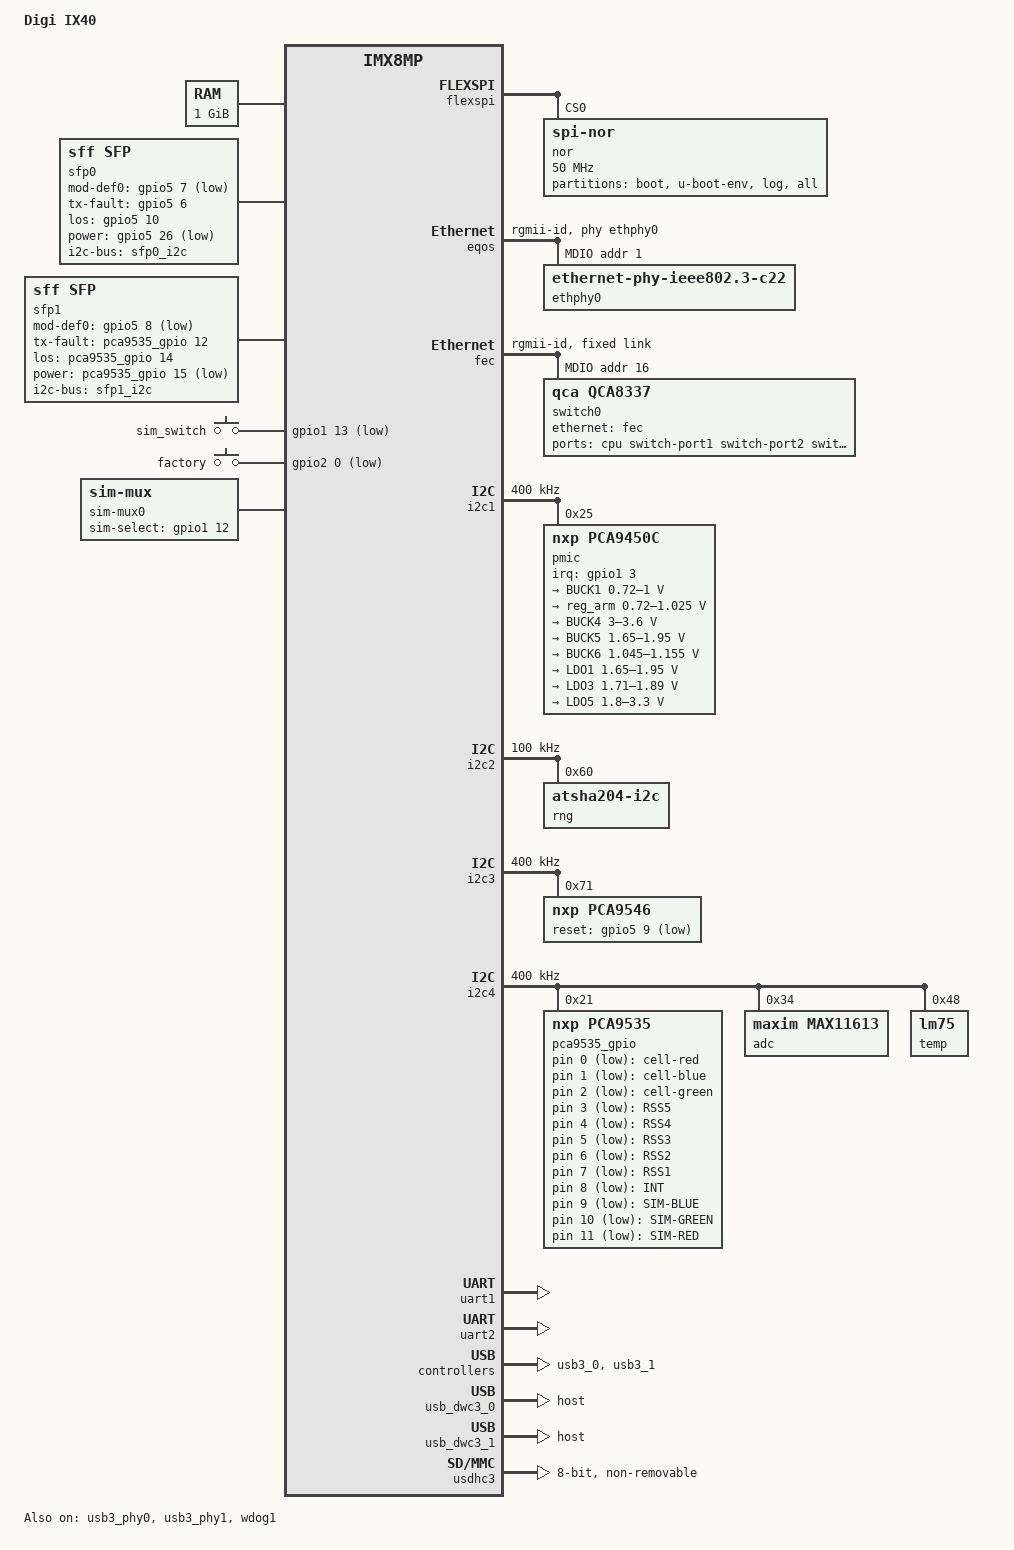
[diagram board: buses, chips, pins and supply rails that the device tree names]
// SPDX-License-Identifier: (GPL-2.0+ OR MIT)
/*
 * Copyright 2019 NXP
 */

/dts-v1/;

#include "imx8mp.dtsi"
#include <dt-bindings/input/input.h>

/ {
	model = "Digi IX40";
	compatible = "digi,ix40", "fsl,imx8mp";

	chosen {
		bootargs = "console=ttymxc0,115200n8 root=/dev/ram0 initrd=0x60000000,64M";
		stdout-path = &uart1;
	};

	thermal-zones {
		cpu-thermal {
			polling-delay-passive = <250>;
			polling-delay = <2000>;
			thermal-sensors = <&tmu 0>;
			trips {
				cpu_crit0: trip1 {
					temperature = <105000>;
					hysteresis = <2000>;
					type = "critical";
				};
			};
		};
		soc-thermal {
			polling-delay-passive = <250>;
			polling-delay = <2000>;
			thermal-sensors = <&tmu 1>;
			trips {
				soc_crit0: trip1 {
					temperature = <105000>;
					hysteresis = <2000>;
					type = "critical";
				};
			};
		};
	};

	gpio-leds {
		compatible = "gpio-leds";
		pinctrl-names = "default";
		pinctrl-0 = <&pinctrl_gpio_led>;

		cell-red {
			label = "cell-red";
			gpios = <&pca9535_gpio 0 GPIO_ACTIVE_LOW>;
			default-state = "on";
		};

		cell-blue {
			label = "cell-blue";
			gpios = <&pca9535_gpio 1 GPIO_ACTIVE_LOW>;
			default-state = "off";
		};

		cell-green {
			label = "cell-green";
			gpios = <&pca9535_gpio 2 GPIO_ACTIVE_LOW>;
			default-state = "on";
		};

		rss5 {
			label = "RSS5";
			gpios = <&pca9535_gpio 3 GPIO_ACTIVE_LOW>;
			default-state = "off";
		};

		rss4 {
			label = "RSS4";
			gpios = <&pca9535_gpio 4 GPIO_ACTIVE_LOW>;
			default-state = "off";
		};

		rss3 {
			label = "RSS3";
			gpios = <&pca9535_gpio 5 GPIO_ACTIVE_LOW>;
			default-state = "off";
		};

		rss2 {
			label = "RSS2";
			gpios = <&pca9535_gpio 6 GPIO_ACTIVE_LOW>;
			default-state = "off";
		};

		rss1 {
			label = "RSS1";
			gpios = <&pca9535_gpio 7 GPIO_ACTIVE_LOW>;
			default-state = "off";
		};

		int {
			label = "INT";
			gpios = <&pca9535_gpio 8 GPIO_ACTIVE_LOW>;
			default-state = "off";
		};

		gnss {
			label = "SIM-BLUE";
			gpios = <&pca9535_gpio 9 GPIO_ACTIVE_LOW>;
			default-state = "off";
		};

		sim1 {
			label = "SIM-GREEN";
			gpios = <&pca9535_gpio 10 GPIO_ACTIVE_LOW>;
			default-state = "off";
		};

		sim2 {
			label = "SIM-RED";
			gpios = <&pca9535_gpio 11 GPIO_ACTIVE_LOW>;
			default-state = "off";
		};
	};

	memory@40000000 {
		device_type = "memory";
		reg = <0x0 0x40000000 0 0x40000000>;
	};

	sfp0: sfp0 {
		compatible = "sff,sfp";
		pinctrl-names = "default";
		pinctrl-0 = <&pinctrl_sfp0>;
		i2c-bus = <&sfp0_i2c>;
		mod-def0-gpios = <&gpio5 7 GPIO_ACTIVE_LOW>;
		tx-fault-gpios = <&gpio5 6 GPIO_ACTIVE_HIGH>;
		los-gpios = <&gpio5 10 GPIO_ACTIVE_HIGH>;
		power-gpios = <&gpio5 26 GPIO_ACTIVE_LOW>;
		/*maximum-power-milliwatt = <3000>;*/
		status = "okay";
	};

	sfp1: sfp1 {
		compatible = "sff,sfp";
		pinctrl-names = "default";
		pinctrl-0 = <&pinctrl_sfp1>;
		i2c-bus = <&sfp1_i2c>;
		mod-def0-gpios = <&gpio5 8 GPIO_ACTIVE_LOW>;
		tx-fault-gpios = <&pca9535_gpio 12 GPIO_ACTIVE_HIGH>;
		los-gpios = <&pca9535_gpio 14 GPIO_ACTIVE_HIGH>;
		power-gpios = <&pca9535_gpio 15 GPIO_ACTIVE_LOW>;
		/*maximum-power-milliwatt = <3000>;*/
		status = "okay";
	};

	digital_ios {
		compatible = "fabricated-gpio";
		pinctrl-names = "default";
		pinctrl-0 = <&pinctrl_extio>;
		gpio-line-names = "dio1", "dio2";

		dio1 {
			input-gpio = <&gpio2 15 GPIO_ACTIVE_HIGH>;
			output-gpio = <&gpio2 12 GPIO_ACTIVE_LOW>;
			pullup-gpio = <&gpio2 7 GPIO_ACTIVE_LOW>;
			disable-pullup;
		};

		dio2 {
			input-gpio = <&gpio2 16 GPIO_ACTIVE_HIGH>;
			output-gpio = <&gpio2 19 GPIO_ACTIVE_LOW>;
			pullup-gpio = <&gpio2 8 GPIO_ACTIVE_LOW>;
			disable-pullup;
		};
	};

	gpio-keys {
		compatible = "gpio-keys";
		sim-button {
			label = "sim_switch";
			linux,code = <KEY_SELECT>;
			gpios = <&gpio1 13 GPIO_ACTIVE_LOW>;
		};

		factory-button {
			label = "factory";
			linux,code = <KEY_DELETE>;
			gpios = <&gpio2 0 GPIO_ACTIVE_LOW>;
		};
	};

	sim-mux0 {
		compatible = "sim-mux";

		sim-select-gpios  = <&gpio1 12 GPIO_ACTIVE_HIGH>;

		sim-count = <2>;
	};
};

/*
 * The iMX8MP QUAD-Lite we use on the Digi/IX40 does not have the VPU
 * hardware module. The base devicetree, imx8mp.dtsi, defines and by
 * default enables the VPU hardware block, so we need to disable it
 * here to avoid kernel errors.
 */
&pgc_vpumix {
	status = "disabled";
};
&pgc_vpu_g1 {
	status = "disabled";
};
&pgc_vpu_g2 {
	status = "disabled";
};
&pgc_vpu_vc8000e {
	status = "disabled";
};
&vpumix_blk_ctrl {
	status = "disabled";
};

/*
 * Disable the coresight debug modules. We don't use them and they cause
 * circular devicetree dependency warnings at run time.
 */
&etm0 {
	status = "disabled";
};

&etm1 {
	status = "disabled";
};

&etm2 {
	status = "disabled";
};

&etm3 {
	status = "disabled";
};

&soc {
	etf@28c04000 {
		status = "disabled";
	};
	funnel@28c03000 {
		status = "disabled";
	};
};

&audio_blk_ctrl {
	status = "disabled";
};

/*
 * The cpu-supply binding is needed to enable CPU freqency scaling.
 * And with that in place add a bunch of set-able speeds for frequency
 * scaling (to redure power consumption and heat generation).
 */
&A53_0 {
	cpu-supply = <&reg_arm>;
};

&A53_1 {
	cpu-supply = <&reg_arm>;
};

&A53_2 {
	cpu-supply = <&reg_arm>;
};

&A53_3 {
	cpu-supply = <&reg_arm>;
};

&a53_opp_table {
	opp-160000000 {
		opp-hz = /bits/ 64 <160000000>;
		opp-microvolt = <850000>;
		opp-supported-hw = <0x8a0>, <0x7>;
		clock-latency-ns = <150000>;
		opp-suspend;
	};

	opp-400000000 {
		opp-hz = /bits/ 64 <400000000>;
		opp-microvolt = <850000>;
		opp-supported-hw = <0x8a0>, <0x7>;
		clock-latency-ns = <150000>;
		opp-suspend;
	};

	opp-800000000 {
		opp-hz = /bits/ 64 <800000000>;
		opp-microvolt = <850000>;
		opp-supported-hw = <0x8a0>, <0x7>;
		clock-latency-ns = <150000>;
		opp-suspend;
	};
};

&flexspi {
	pinctrl-names = "default";
	pinctrl-0 = <&pinctrl_flexspi>;
	cs-select = <0>;
	status = "okay";

	nor@0 {
		#address-cells = <1>;
		#size-cells = <1>;
		reg = <0>;
		compatible = "jedec,spi-nor";
		spi-max-frequency = <50000000>;

		partition@0 {
			label = "boot";
			reg = <0x0 0x400000>;
		};
		partition@1 {
			label = "u-boot-env";
			reg = <0x400000 0x100000>;
		};
		partition@2 {
			label = "log";
			reg = <0x500000 0x100000>;
		};
		partition@3 {
			label = "all";
			reg = <0x0 0x0>;
		};
	};
};

&eqos {
	pinctrl-names = "default";
	pinctrl-0 = <&pinctrl_eqos>;
	phy-mode = "rgmii-id";
	phy-handle = <&ethphy0>;
	status = "okay";

	mdio {
		compatible = "snps,dwmac-mdio";
		#address-cells = <1>;
		#size-cells = <0>;

		ethphy0: ethernet-phy@1 {
			compatible = "ethernet-phy-ieee802.3-c22";
			reg = <1>;
			/*eee-broken-1000t;*/
			marvell,reg-init = <3 16 0 0x0040>,      /* LED actions */
					   <2 16 0xffff 0x0002>, /* Disable CLK125 */
					   <0 16 0xffff 0x0200>; /* Port low power */
			sfp = <&sfp1>;
		};
	};
};

&fec {
	pinctrl-names = "default";
	pinctrl-0 = <&pinctrl_fec>;
	phy-mode = "rgmii-id";
	status = "okay";

	fixed-link {
		speed = <1000>;
		full-duplex;
	};

	mdio {
		#address-cells = <1>;
		#size-cells = <0>;
		status = "okay";

		switch0: switch@0 {
			compatible = "qca,qca8337";
			#address-cells = <1>;
			#size-cells = <0>;
			rx-internal-delay-ps = <2000>;
			tx-internal-delay-ps = <2000>;
			qca,led-ctrl0 = <0>;
			qca,led-ctrl1 = <0xc931c931>;
			qca,led-ctrl2 = <0xcf05cf05>;
			reg = <0x10>;

			dsa,member = <0 0>;

			ports {
				#address-cells = <1>;
				#size-cells = <0>;

				switch0port: port@0 {
					reg = <0>;
					label = "cpu";
					ethernet = <&fec>;
					phy-mode = "rgmii-id";
					fixed-link {
						speed = <1000>;
						full-duplex;
					};
				};

				port@1 {
					reg = <1>;
					label = "switch-port1";
				};

				port@2 {
					reg = <2>;
					label = "switch-port2";
				};

				port@3 {
					reg = <3>;
					label = "switch-port3";
				};

				port@6 {
					reg = <6>;
					label = "switch-port6";
					phy-mode = "sgmii";
					qca,sgmii-enable-pll;
					sfp = <&sfp0>;
					fixed-link {
						speed = <1000>;
						full-duplex;
					};
				};
			};
		};
	};
};

&i2c1 {
	clock-frequency = <400000>;
	pinctrl-names = "default";
	pinctrl-0 = <&pinctrl_i2c1>;
	status = "okay";

	pmic@25 {
		compatible = "nxp,pca9450c";
		reg = <0x25>;
		pinctrl-names = "default";
		pinctrl-0 = <&pinctrl_pmic>;
		interrupt-parent = <&gpio1>;
		interrupts = <3 IRQ_TYPE_LEVEL_LOW>;

		regulators {
			BUCK1 {
				regulator-name = "BUCK1";
				regulator-min-microvolt = <720000>;
				regulator-max-microvolt = <1000000>;
				regulator-boot-on;
				regulator-always-on;
				regulator-ramp-delay = <3125>;
			};

			reg_arm: BUCK2 {
				regulator-name = "BUCK2";
				regulator-min-microvolt = <720000>;
				regulator-max-microvolt = <1025000>;
				regulator-boot-on;
				regulator-always-on;
				regulator-ramp-delay = <3125>;
				nxp,dvs-run-voltage = <950000>;
				nxp,dvs-standby-voltage = <850000>;
			};

			BUCK4 {
				regulator-name = "BUCK4";
				regulator-min-microvolt = <3000000>;
				regulator-max-microvolt = <3600000>;
				regulator-boot-on;
				regulator-always-on;
			};

			BUCK5 {
				regulator-name = "BUCK5";
				regulator-min-microvolt = <1650000>;
				regulator-max-microvolt = <1950000>;
				regulator-boot-on;
				regulator-always-on;
			};

			BUCK6 {
				regulator-name = "BUCK6";
				regulator-min-microvolt = <1045000>;
				regulator-max-microvolt = <1155000>;
				regulator-boot-on;
				regulator-always-on;
			};

			LDO1 {
				regulator-name = "LDO1";
				regulator-min-microvolt = <1650000>;
				regulator-max-microvolt = <1950000>;
				regulator-boot-on;
				regulator-always-on;
			};

			LDO3 {
				regulator-name = "LDO3";
				regulator-min-microvolt = <1710000>;
				regulator-max-microvolt = <1890000>;
				regulator-boot-on;
				regulator-always-on;
			};

			LDO5 {
				regulator-name = "LDO5";
				regulator-min-microvolt = <1800000>;
				regulator-max-microvolt = <3300000>;
				regulator-boot-on;
				regulator-always-on;
			};
		};
	};
};

&i2c2 {
	clock-frequency = <100000>;
	pinctrl-names = "default";
	pinctrl-0 = <&pinctrl_i2c2>;
	status = "okay";

	rng: atecc508@60 {
		compatible = "atsha204-i2c";
		reg = <0x60>;
	};
};

&i2c3 {
	clock-frequency = <400000>;
	pinctrl-names = "default";
	pinctrl-0 = <&pinctrl_i2c3>;
	status = "okay";

	pca9546: i2cmux@71 {
		compatible = "nxp,pca9546";
		reg = <0x71>;
		#address-cells = <1>;
		#size-cells = <0>;
		reset-gpios = <&gpio5 9 GPIO_ACTIVE_LOW>;

		sfp0_i2c: i2c@0 {
			#address-cells = <1>;
			#size-cells = <0>;
			reg = <0>;
		};

		sfp1_i2c: i2c@1 {
			#address-cells = <1>;
			#size-cells = <0>;
			reg = <1>;
		};
	};
};

&i2c4 {
	clock-frequency = <400000>;
	pinctrl-names = "default";
	pinctrl-0 = <&pinctrl_i2c4>;
	status = "okay";

	pca9535_gpio: gpio@21 {
		compatible = "nxp,pca9535";
		reg = <0x21>;
		gpio-controller;
		#gpio-cells = <2>;
	};

	adc: max11613@34 {
		compatible = "maxim,max11613";
		reg = <0x34>;
	};

	temp: lm75@48 {
		compatible = "lm75";
		reg = <0x48>;
	};
};

&uart1 {
	/* console */
	pinctrl-names = "default";
	pinctrl-0 = <&pinctrl_uart1>;
	status = "okay";
};

&uart2 {
	/* external serial port */
	pinctrl-names = "default";
	pinctrl-0 = <&pinctrl_uart2>;
	uart-has-rtscts;
	dsr-gpios = <&gpio2 2 GPIO_ACTIVE_LOW>;
	dtr-gpios = <&gpio2 3 GPIO_ACTIVE_LOW>;
	dcd-gpios = <&gpio2 4 GPIO_ACTIVE_LOW>;
	status = "okay";
};

&usb3_phy0 {
	status = "okay";
};

&usb3_0 {
	status = "okay";
};

&usb_dwc3_0 {
	dr_mode = "host";
	status = "okay";
	snps,dis_ep_cache_eviction;
};

&usb3_phy1 {
	status = "okay";
};

&usb3_1 {
	status = "okay";
};

&usb_dwc3_1 {
	dr_mode = "host";
	status = "okay";
	snps,dis_ep_cache_eviction;
};

&usdhc3 {
	assigned-clocks = <&clk IMX8MP_CLK_USDHC3>;
	assigned-clock-rates = <400000000>;
	pinctrl-names = "default", "state_100mhz", "state_200mhz";
	pinctrl-0 = <&pinctrl_usdhc3>;
	pinctrl-1 = <&pinctrl_usdhc3_100mhz>;
	pinctrl-2 = <&pinctrl_usdhc3_200mhz>;
	bus-width = <8>;
	non-removable;
	status = "okay";
};

&wdog1 {
	pinctrl-names = "default";
	pinctrl-0 = <&pinctrl_wdog>;
	fsl,ext-reset-output;
	status = "okay";
};

&gpio1 {
	gpio-line-names = "", "", "", "", "", "", "", "",
			  "", "", "", "", "", "sim_switch", "", "",
			  "", "", "", "", "", "", "", "",
			  "", "", "", "", "", "", "", "";
};

&gpio2 {
	gpio-line-names = "factory", "developer", "", "", "", "", "", "",
			  "", "", "4_20_p1n", "4_20_p2n", "", "", "", "",
			  "", "", "", "", "", "", "", "",
			  "", "", "", "", "", "", "", "";
};

&gpio3 {
	gpio-line-names = "", "", "", "", "", "", "", "",
			  "", "", "", "", "", "", "", "",
			  "", "", "", "", "", "", "", "",
			  "", "", "", "", "", "", "", "";
};

&gpio4 {
	gpio-line-names = "", "", "", "", "", "", "", "",
			  "", "", "", "", "", "", "", "",
			  "", "", "", "", "", "", "", "",
			  "", "", "", "", "", "", "", "";
};

&gpio5 {
	gpio-line-names = "", "", "", "", "", "", "", "",
			  "", "", "", "", "", "", "", "",
			  "", "", "", "", "", "", "", "",
			  "", "", "", "", "", "", "", "";
};

&iomuxc {
	pinctrl_flexspi: flexspigrp {
		fsl,pins = <
			MX8MP_IOMUXC_NAND_ALE__FLEXSPI_A_SCLK		0x1c2
			MX8MP_IOMUXC_NAND_CE0_B__FLEXSPI_A_SS0_B	0x182
			MX8MP_IOMUXC_NAND_DATA00__FLEXSPI_A_DATA00	0x182
			MX8MP_IOMUXC_NAND_DATA01__FLEXSPI_A_DATA01	0x182
			MX8MP_IOMUXC_NAND_DATA02__FLEXSPI_A_DATA02	0x182
			MX8MP_IOMUXC_NAND_DATA03__FLEXSPI_A_DATA03	0x1c2
		>;
	};

	pinctrl_eqos: eqosgrp {
		fsl,pins = <
			MX8MP_IOMUXC_ENET_MDC__ENET_QOS_MDC				0x3
			MX8MP_IOMUXC_ENET_MDIO__ENET_QOS_MDIO				0x3
			MX8MP_IOMUXC_ENET_RD0__ENET_QOS_RGMII_RD0			0x90
			MX8MP_IOMUXC_ENET_RD1__ENET_QOS_RGMII_RD1			0x90
			MX8MP_IOMUXC_ENET_RD2__ENET_QOS_RGMII_RD2			0x90
			MX8MP_IOMUXC_ENET_RD3__ENET_QOS_RGMII_RD3			0x90
			MX8MP_IOMUXC_ENET_RXC__CCM_ENET_QOS_CLOCK_GENERATE_RX_CLK	0x91
			MX8MP_IOMUXC_ENET_RX_CTL__ENET_QOS_RGMII_RX_CTL			0x91
			MX8MP_IOMUXC_ENET_TD0__ENET_QOS_RGMII_TD0			0x10
			MX8MP_IOMUXC_ENET_TD1__ENET_QOS_RGMII_TD1			0x10
			MX8MP_IOMUXC_ENET_TD2__ENET_QOS_RGMII_TD2			0x10
			MX8MP_IOMUXC_ENET_TD3__ENET_QOS_RGMII_TD3			0x10
			MX8MP_IOMUXC_ENET_TX_CTL__ENET_QOS_RGMII_TX_CTL			0x1f
			MX8MP_IOMUXC_ENET_TXC__CCM_ENET_QOS_CLOCK_GENERATE_TX_CLK	0x1f
			MX8MP_IOMUXC_SAI2_RXC__GPIO4_IO22				0x19
		>;
	};

	pinctrl_fec: fecgrp {
		fsl,pins = <
			MX8MP_IOMUXC_SAI1_RXD2__ENET1_MDC		0x3
			MX8MP_IOMUXC_SAI1_RXD3__ENET1_MDIO		0x3
			MX8MP_IOMUXC_SAI1_RXD4__ENET1_RGMII_RD0		0x90
			MX8MP_IOMUXC_SAI1_RXD5__ENET1_RGMII_RD1		0x90
			MX8MP_IOMUXC_SAI1_RXD6__ENET1_RGMII_RD2		0x90
			MX8MP_IOMUXC_SAI1_RXD7__ENET1_RGMII_RD3		0x90
			MX8MP_IOMUXC_SAI1_TXC__ENET1_RGMII_RXC		0x91
			MX8MP_IOMUXC_SAI1_TXFS__ENET1_RGMII_RX_CTL	0x91
			MX8MP_IOMUXC_SAI1_TXD0__ENET1_RGMII_TD0		0x10
			MX8MP_IOMUXC_SAI1_TXD1__ENET1_RGMII_TD1		0x10
			MX8MP_IOMUXC_SAI1_TXD2__ENET1_RGMII_TD2		0x10
			MX8MP_IOMUXC_SAI1_TXD3__ENET1_RGMII_TD3		0x10
			MX8MP_IOMUXC_SAI1_TXD4__ENET1_RGMII_TX_CTL	0x1f
			MX8MP_IOMUXC_SAI1_TXD5__ENET1_RGMII_TXC		0x1f
			MX8MP_IOMUXC_SAI1_RXD0__GPIO4_IO02		0x19
		>;
	};

	pinctrl_gpio_led: gpioledgrp {
		fsl,pins = <
			/* M1 modem control */
			MX8MP_IOMUXC_GPIO1_IO00__GPIO1_IO00	0x00000146
			MX8MP_IOMUXC_GPIO1_IO08__GPIO1_IO08	0x00000106
			MX8MP_IOMUXC_GPIO1_IO09__GPIO1_IO09	0x00000106

			/* M.2 cell modem control */
			MX8MP_IOMUXC_GPIO1_IO05__GPIO1_IO05	0x00000146
			MX8MP_IOMUXC_GPIO1_IO06__GPIO1_IO06	0x00000106
			MX8MP_IOMUXC_GPIO1_IO14__GPIO1_IO14	0x00000106
			MX8MP_IOMUXC_GPIO1_IO15__GPIO1_IO15	0x00000106

			/* SIM select button */
			MX8MP_IOMUXC_GPIO1_IO13__GPIO1_IO13	0x00000106

			/* Factory ERASE button */
			MX8MP_IOMUXC_SD1_CLK__GPIO2_IO00	0x00000106

			/* Device mode selection */
			MX8MP_IOMUXC_SD1_CMD__GPIO2_IO01	0x00000106
			MX8MP_IOMUXC_GPIO1_IO10__GPIO1_IO10	0x00000106

			/* I2C MUX reset */
			MX8MP_IOMUXC_ECSPI1_SS0__GPIO5_IO09     0x00000146
		>;
	};

	pinctrl_sfp0: sfp1grp {
		fsl,pins = <
			MX8MP_IOMUXC_ECSPI1_SCLK__GPIO5_IO06	0x00000106
			MX8MP_IOMUXC_ECSPI1_MOSI__GPIO5_IO07	0x00000106
			MX8MP_IOMUXC_ECSPI2_SCLK__GPIO5_IO10	0x00000106
			MX8MP_IOMUXC_UART3_RXD__GPIO5_IO26	0x00000146
		>;
	};

	pinctrl_sfp1: sfp2grp {
		fsl,pins = <
			MX8MP_IOMUXC_ECSPI1_MISO__GPIO5_IO08	0x00000106
		>;
	};

	pinctrl_extio: extiogrp {
		fsl,pins = <
			/* Digital and Analog IO */
			MX8MP_IOMUXC_SD2_DATA0__GPIO2_IO15	0x00000010
			MX8MP_IOMUXC_SD2_DATA1__GPIO2_IO16	0x00000010
			MX8MP_IOMUXC_SD2_CD_B__GPIO2_IO12	0x00000146
			MX8MP_IOMUXC_SD2_RESET_B__GPIO2_IO19	0x00000146
			MX8MP_IOMUXC_SD1_DATA5__GPIO2_IO07	0x00000146
			MX8MP_IOMUXC_SD1_DATA6__GPIO2_IO08	0x00000146
			MX8MP_IOMUXC_SD1_RESET_B__GPIO2_IO10	0x00000146
			MX8MP_IOMUXC_SD1_STROBE__GPIO2_IO11	0x00000146
		>;
	};

	pinctrl_i2c1: i2c1grp {
		fsl,pins = <
			MX8MP_IOMUXC_I2C1_SCL__I2C1_SCL		0x400001c3
			MX8MP_IOMUXC_I2C1_SDA__I2C1_SDA		0x400001c3
		>;
	};

	pinctrl_i2c2: i2c2grp {
		fsl,pins = <
			MX8MP_IOMUXC_I2C2_SCL__I2C2_SCL		0x400001c3
			MX8MP_IOMUXC_I2C2_SDA__I2C2_SDA		0x400001c3
		>;
	};

	pinctrl_i2c3: i2c3grp {
		fsl,pins = <
			MX8MP_IOMUXC_I2C3_SCL__I2C3_SCL		0x400001c3
			MX8MP_IOMUXC_I2C3_SDA__I2C3_SDA		0x400001c3
		>;
	};

	pinctrl_i2c4: i2c4grp {
		fsl,pins = <
			MX8MP_IOMUXC_I2C4_SCL__I2C4_SCL		0x400001c3
			MX8MP_IOMUXC_I2C4_SDA__I2C4_SDA		0x400001c3
		>;
	};

	pinctrl_pmic: pmicgrp {
		fsl,pins = <
			MX8MP_IOMUXC_GPIO1_IO03__GPIO1_IO03	0x000001c0
		>;
	};

	pinctrl_uart1: uart1grp {
		fsl,pins = <
			MX8MP_IOMUXC_UART1_RXD__UART1_DCE_RX	0x00000106
			MX8MP_IOMUXC_UART1_TXD__UART1_DCE_TX	0x00000106
		>;
	};

	pinctrl_uart2: uart2grp {
		fsl,pins = <
			MX8MP_IOMUXC_UART2_RXD__UART2_DCE_RX	0x49
			MX8MP_IOMUXC_UART2_TXD__UART2_DCE_TX	0x49
			MX8MP_IOMUXC_UART4_RXD__UART2_DCE_CTS	0x00000106
			MX8MP_IOMUXC_UART4_TXD__UART2_DCE_RTS	0x00000106
			MX8MP_IOMUXC_SD1_DATA0__GPIO2_IO02	0x00000106
			MX8MP_IOMUXC_SD1_DATA1__GPIO2_IO03	0x00000106
			MX8MP_IOMUXC_SD1_DATA2__GPIO2_IO04	0x00000106

			MX8MP_IOMUXC_ECSPI2_MOSI__GPIO5_IO11	0x00000106
			MX8MP_IOMUXC_ECSPI2_MISO__GPIO5_IO12	0x00000106
			MX8MP_IOMUXC_ECSPI2_SS0__GPIO5_IO13	0x00000106
			MX8MP_IOMUXC_UART3_TXD__GPIO5_IO27	0x00000106
		>;
	};

	pinctrl_usdhc3: usdhc3grp {
		fsl,pins = <
			MX8MP_IOMUXC_NAND_WE_B__USDHC3_CLK	0x190
			MX8MP_IOMUXC_NAND_WP_B__USDHC3_CMD	0x1d0
			MX8MP_IOMUXC_NAND_DATA04__USDHC3_DATA0	0x1d0
			MX8MP_IOMUXC_NAND_DATA05__USDHC3_DATA1	0x1d0
			MX8MP_IOMUXC_NAND_DATA06__USDHC3_DATA2	0x1d0
			MX8MP_IOMUXC_NAND_DATA07__USDHC3_DATA3	0x1d0
			MX8MP_IOMUXC_NAND_RE_B__USDHC3_DATA4	0x1d0
			MX8MP_IOMUXC_NAND_CE2_B__USDHC3_DATA5	0x1d0
			MX8MP_IOMUXC_NAND_CE3_B__USDHC3_DATA6	0x1d0
			MX8MP_IOMUXC_NAND_CLE__USDHC3_DATA7	0x1d0
			MX8MP_IOMUXC_NAND_CE1_B__USDHC3_STROBE	0x190
		>;
	};

	pinctrl_usdhc3_100mhz: usdhc3-100mhzgrp {
		fsl,pins = <
			MX8MP_IOMUXC_NAND_WE_B__USDHC3_CLK	0x194
			MX8MP_IOMUXC_NAND_WP_B__USDHC3_CMD	0x1d4
			MX8MP_IOMUXC_NAND_DATA04__USDHC3_DATA0	0x1d4
			MX8MP_IOMUXC_NAND_DATA05__USDHC3_DATA1	0x1d4
			MX8MP_IOMUXC_NAND_DATA06__USDHC3_DATA2	0x1d4
			MX8MP_IOMUXC_NAND_DATA07__USDHC3_DATA3	0x1d4
			MX8MP_IOMUXC_NAND_RE_B__USDHC3_DATA4	0x1d4
			MX8MP_IOMUXC_NAND_CE2_B__USDHC3_DATA5	0x1d4
			MX8MP_IOMUXC_NAND_CE3_B__USDHC3_DATA6	0x1d4
			MX8MP_IOMUXC_NAND_CLE__USDHC3_DATA7	0x1d4
			MX8MP_IOMUXC_NAND_CE1_B__USDHC3_STROBE	0x194
		>;
	};

	pinctrl_usdhc3_200mhz: usdhc3-200mhzgrp {
		fsl,pins = <
			MX8MP_IOMUXC_NAND_WE_B__USDHC3_CLK	0x196
			MX8MP_IOMUXC_NAND_WP_B__USDHC3_CMD	0x1d6
			MX8MP_IOMUXC_NAND_DATA04__USDHC3_DATA0	0x1d6
			MX8MP_IOMUXC_NAND_DATA05__USDHC3_DATA1	0x1d6
			MX8MP_IOMUXC_NAND_DATA06__USDHC3_DATA2	0x1d6
			MX8MP_IOMUXC_NAND_DATA07__USDHC3_DATA3	0x1d6
			MX8MP_IOMUXC_NAND_RE_B__USDHC3_DATA4	0x1d6
			MX8MP_IOMUXC_NAND_CE2_B__USDHC3_DATA5	0x1d6
			MX8MP_IOMUXC_NAND_CE3_B__USDHC3_DATA6	0x1d6
			MX8MP_IOMUXC_NAND_CLE__USDHC3_DATA7	0x1d6
			MX8MP_IOMUXC_NAND_CE1_B__USDHC3_STROBE	0x196
		>;
	};

	pinctrl_wdog: wdoggrp {
		fsl,pins = <
			MX8MP_IOMUXC_GPIO1_IO02__WDOG1_WDOG_B	0x166
		>;
	};
};
